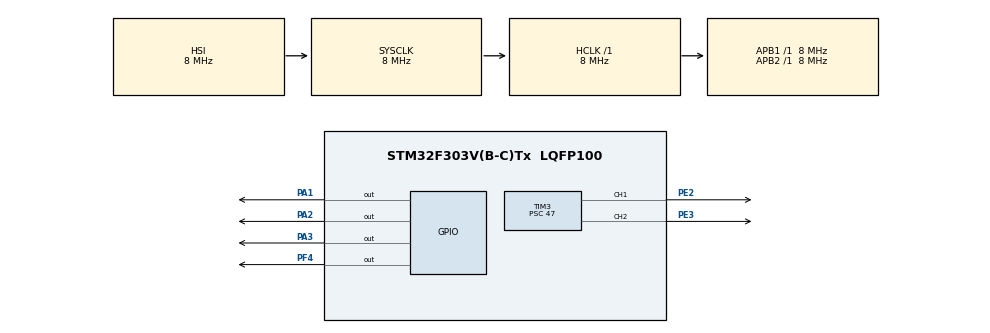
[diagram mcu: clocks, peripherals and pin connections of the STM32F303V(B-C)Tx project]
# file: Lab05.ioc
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Mcu.Family=STM32F3
Mcu.Name=STM32F303V(B-C)Tx
Mcu.Package=LQFP100
NVIC.PriorityGroup=NVIC_PRIORITYGROUP_4
PA1.Signal=GPIO_Output
PA2.Signal=GPIO_Output
PA3.Signal=GPIO_Output
PE2.Signal=S_TIM3_CH1
PE3.Signal=S_TIM3_CH2
PF4.Signal=GPIO_Output
ProjectManager.HeapSize=0x200
ProjectManager.StackSize=0x400
ProjectManager.TargetToolchain=CMake
RCC.AHBFreq_Value=8000000
RCC.APB1Freq_Value=8000000
RCC.APB2Freq_Value=8000000
RCC.CortexFreq_Value=8000000
RCC.HSE_VALUE=8000000
RCC.HSI_VALUE=8000000
RCC.LSE_VALUE=32768
RCC.SYSCLKFreq_VALUE=8000000
SH.S_TIM3_CH1.0=TIM3_CH1,PWM Generation1 CH1
SH.S_TIM3_CH2.0=TIM3_CH2,PWM Generation2 CH2
TIM3.Channel-PWM\ Generation1\ CH1=TIM_CHANNEL_1
TIM3.Channel-PWM\ Generation2\ CH2=TIM_CHANNEL_2
TIM3.Period=999
TIM3.Prescaler=47
VP_TIM3_VS_ClockSourceINT.Mode=Internal
board=custom

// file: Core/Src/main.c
/* USER CODE BEGIN Header */
/**
  ******************************************************************************
  * @file           : main.c
  * @brief          : Main program body
  ******************************************************************************
  * @attention
  *
  * Copyright (c) 2026 STMicroelectronics.
  * All rights reserved.
  *
  * This software is licensed under terms that can be found in the LICENSE file
  * in the root directory of this software component.
  * If no LICENSE file comes with this software, it is provided AS-IS.
  *
  ******************************************************************************
  */
/* USER CODE END Header */
#include "main.h"

TIM_HandleTypeDef htim3;

void SystemClock_Config(void);
static void MX_GPIO_Init(void);
static void MX_TIM3_Init(void);

int main(void)
{

  /* MCU Configuration--------------------------------------------------------*/

  /* Reset of all peripherals, Initializes the Flash interface and the Systick. */
  HAL_Init();

  /* Configure the system clock */
  SystemClock_Config();

  /* Initialize all configured peripherals */
  MX_GPIO_Init();
  MX_TIM3_Init();
  /* USER CODE BEGIN 2 */
  // Drives the motor forward at a specific speed (0 to 999)
void  Motor_Forward(uint16_t speed) {
    // Set PA1 HIGH and PA2 LOW for forward direction
    HAL_GPIO_WritePin(GPIOA, GPIO_PIN_1, GPIO_PIN_SET);
    HAL_GPIO_WritePin(GPIOA, GPIO_PIN_2, GPIO_PIN_RESET);

    // Apply the speed to your timer channel[cite: 3]
    __HAL_TIM_SET_COMPARE(&htim3, TIM_CHANNEL_1, speed);
}

// Drives the motor backward at a specific speed (0 to 999)
void Motor_Backward(uint16_t speed) {
    // Set PA1 LOW and PA2 HIGH for reverse direction[cite: 3]
    HAL_GPIO_WritePin(GPIOA, GPIO_PIN_1, GPIO_PIN_RESET);
    HAL_GPIO_WritePin(GPIOA, GPIO_PIN_2, GPIO_PIN_SET);

    __HAL_TIM_SET_COMPARE(&htim3, TIM_CHANNEL_1, speed);
}

// Stops the motor completely
void Motor_Stop(void) {
    // Set both direction pins LOW to coast to a stop[cite: 3]
    HAL_GPIO_WritePin(GPIOA, GPIO_PIN_1, GPIO_PIN_RESET);
    HAL_GPIO_WritePin(GPIOA, GPIO_PIN_2, GPIO_PIN_RESET);

    // Drop duty cycle to 0
    __HAL_TIM_SET_COMPARE(&htim3, TIM_CHANNEL_1, 0);
}
  //task1 begin
  HAL_TIM_PWM_Start(&htim3, TIM_CHANNEL_1);
  //task1 end
  /* USER CODE END 2 */

  /* Infinite loop */
  /* USER CODE BEGIN WHILE */
  //start task1
  // uint16_t pulse = 0;
  // int16_t step = 5;
  while (1)
  {
    /* USER CODE END WHILE */

    /* USER CODE BEGIN 3 */
    //task2 begin
    Motor_Forward(500);  // Run forward at ~50% speed
    HAL_Delay(2000);     // Wait 2 seconds

    Motor_Stop();        // Stop
    HAL_Delay(1000);     // Wait 1 second

    Motor_Backward(999); // Run backward at 100% speed
    HAL_Delay(2000);     // Wait 2 seconds

    Motor_Stop();
    HAL_Delay(1000);
    //task2 end
    //task1 begin

    // __HAL_TIM_SET_COMPARE(&htim3, TIM_CHANNEL_1, pulse);
//cont. task1
    // pulse += step;
    // if (pulse >= 999) { pulse = 999; step = -5; }   // ARR = 999 in this example
    // if (pulse <= 0)   { pulse = 0;   step = 5;  }

    // HAL_Delay(5);   // keep frequency ≥1kHz so no visible flicker; this delay just controls fade speed
    //task1 end

  }
  /* USER CODE END 3 */
}

void SystemClock_Config(void)
{
  RCC_OscInitTypeDef RCC_OscInitStruct = {0};
  RCC_ClkInitTypeDef RCC_ClkInitStruct = {0};

  /** Initializes the RCC Oscillators according to the specified parameters
  * in the RCC_OscInitTypeDef structure.
  */
  RCC_OscInitStruct.OscillatorType = RCC_OSCILLATORTYPE_HSI;
  RCC_OscInitStruct.HSIState = RCC_HSI_ON;
  RCC_OscInitStruct.HSICalibrationValue = RCC_HSICALIBRATION_DEFAULT;
  RCC_OscInitStruct.PLL.PLLState = RCC_PLL_NONE;
  if (HAL_RCC_OscConfig(&RCC_OscInitStruct) != HAL_OK)
  {
    Error_Handler();
  }

  /** Initializes the CPU, AHB and APB buses clocks
  */
  RCC_ClkInitStruct.ClockType = RCC_CLOCKTYPE_HCLK|RCC_CLOCKTYPE_SYSCLK
                              |RCC_CLOCKTYPE_PCLK1|RCC_CLOCKTYPE_PCLK2;
  RCC_ClkInitStruct.SYSCLKSource = RCC_SYSCLKSOURCE_HSI;
  RCC_ClkInitStruct.AHBCLKDivider = RCC_SYSCLK_DIV1;
  RCC_ClkInitStruct.APB1CLKDivider = RCC_HCLK_DIV1;
  RCC_ClkInitStruct.APB2CLKDivider = RCC_HCLK_DIV1;

  if (HAL_RCC_ClockConfig(&RCC_ClkInitStruct, FLASH_LATENCY_0) != HAL_OK)
  {
    Error_Handler();
  }
}

static void MX_TIM3_Init(void)
{

  TIM_ClockConfigTypeDef sClockSourceConfig = {0};
  TIM_MasterConfigTypeDef sMasterConfig = {0};
  TIM_OC_InitTypeDef sConfigOC = {0};

  htim3.Instance = TIM3;
  htim3.Init.Prescaler = 47;
  htim3.Init.CounterMode = TIM_COUNTERMODE_UP;
  htim3.Init.Period = 999;
  htim3.Init.ClockDivision = TIM_CLOCKDIVISION_DIV1;
  htim3.Init.AutoReloadPreload = TIM_AUTORELOAD_PRELOAD_DISABLE;
  if (HAL_TIM_Base_Init(&htim3) != HAL_OK)
  {
    Error_Handler();
  }
  sClockSourceConfig.ClockSource = TIM_CLOCKSOURCE_INTERNAL;
  if (HAL_TIM_ConfigClockSource(&htim3, &sClockSourceConfig) != HAL_OK)
  {
    Error_Handler();
  }
  if (HAL_TIM_PWM_Init(&htim3) != HAL_OK)
  {
    Error_Handler();
  }
  sMasterConfig.MasterOutputTrigger = TIM_TRGO_RESET;
  sMasterConfig.MasterSlaveMode = TIM_MASTERSLAVEMODE_DISABLE;
  if (HAL_TIMEx_MasterConfigSynchronization(&htim3, &sMasterConfig) != HAL_OK)
  {
    Error_Handler();
  }
  sConfigOC.OCMode = TIM_OCMODE_PWM1;
  sConfigOC.Pulse = 0;
  sConfigOC.OCPolarity = TIM_OCPOLARITY_HIGH;
  sConfigOC.OCFastMode = TIM_OCFAST_DISABLE;
  if (HAL_TIM_PWM_ConfigChannel(&htim3, &sConfigOC, TIM_CHANNEL_1) != HAL_OK)
  {
    Error_Handler();
  }
  if (HAL_TIM_PWM_ConfigChannel(&htim3, &sConfigOC, TIM_CHANNEL_2) != HAL_OK)
  {
    Error_Handler();
  }
  HAL_TIM_MspPostInit(&htim3);

}

static void MX_GPIO_Init(void)
{
  GPIO_InitTypeDef GPIO_InitStruct = {0};

  /* GPIO Ports Clock Enable */
  __HAL_RCC_GPIOE_CLK_ENABLE();
  __HAL_RCC_GPIOA_CLK_ENABLE();
  __HAL_RCC_GPIOF_CLK_ENABLE();

  /*Configure GPIO pin Output Level */
  HAL_GPIO_WritePin(GPIOA, GPIO_PIN_1|GPIO_PIN_2|GPIO_PIN_3, GPIO_PIN_RESET);

  /*Configure GPIO pin Output Level */
  HAL_GPIO_WritePin(GPIOF, GPIO_PIN_4, GPIO_PIN_RESET);

  /*Configure GPIO pins : PA1 PA2 PA3 */
  GPIO_InitStruct.Pin = GPIO_PIN_1|GPIO_PIN_2|GPIO_PIN_3;
  GPIO_InitStruct.Mode = GPIO_MODE_OUTPUT_PP;
  GPIO_InitStruct.Pull = GPIO_NOPULL;
  GPIO_InitStruct.Speed = GPIO_SPEED_FREQ_LOW;
  HAL_GPIO_Init(GPIOA, &GPIO_InitStruct);

  /*Configure GPIO pin : PF4 */
  GPIO_InitStruct.Pin = GPIO_PIN_4;
  GPIO_InitStruct.Mode = GPIO_MODE_OUTPUT_PP;
  GPIO_InitStruct.Pull = GPIO_NOPULL;
  GPIO_InitStruct.Speed = GPIO_SPEED_FREQ_LOW;
  HAL_GPIO_Init(GPIOF, &GPIO_InitStruct);

}

/* USER CODE BEGIN 4 */
/* USER CODE BEGIN 4 */

/* USER CODE END 4 */

void Error_Handler(void)
{
  __disable_irq();
  while (1)
  {
  }
}
